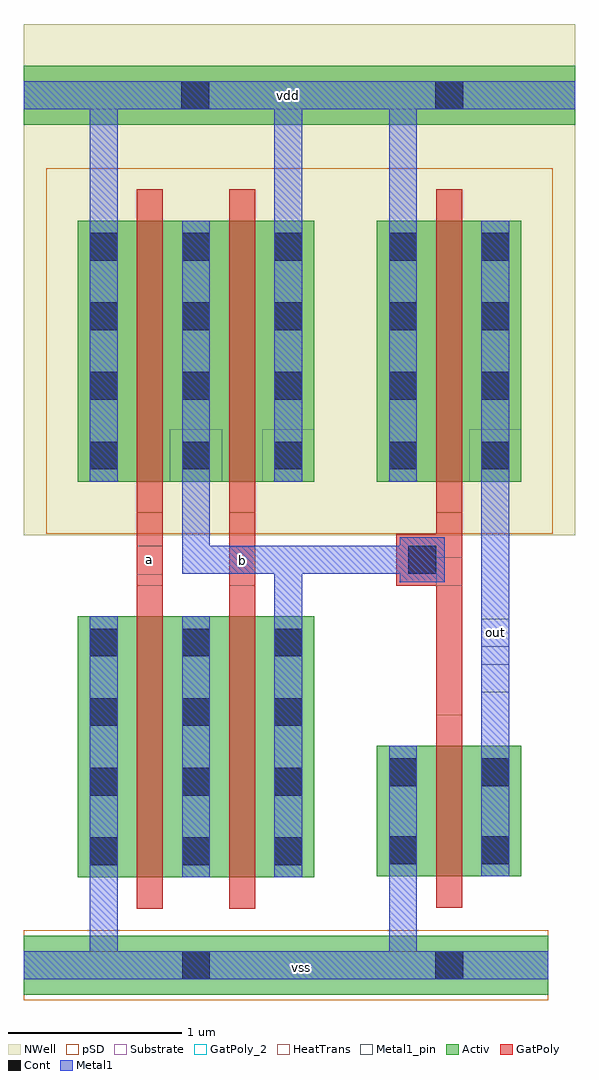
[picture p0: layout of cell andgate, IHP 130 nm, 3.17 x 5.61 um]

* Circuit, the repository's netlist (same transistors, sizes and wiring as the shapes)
* Extracted by KLayout with SG13G2 LVS runset on : 21/03/2026 18:38

.SUBCKT andgate
M$1 \$1 \$3 \$4 \$1 sg13_lv_nmos L=0.15u W=0.75u AS=0.255p AD=0.255p PS=2.18u
+ PD=2.18u
M$2 \$1 \$6 \$2 \$1 sg13_lv_nmos L=0.15u W=1.5u AS=0.51p AD=0.285p PS=3.68u
+ PD=1.88u
M$3 \$2 \$7 \$3 \$1 sg13_lv_nmos L=0.15u W=1.5u AS=0.285p AD=0.51p PS=1.88u
+ PD=3.68u
M$4 \$5 \$6 \$3 \$5 sg13_lv_pmos L=0.15u W=1.5u AS=0.51p AD=0.285p PS=3.68u
+ PD=1.88u
M$5 \$3 \$7 \$5 \$5 sg13_lv_pmos L=0.15u W=1.5u AS=0.285p AD=0.51p PS=1.88u
+ PD=3.68u
M$6 \$5 \$3 \$4 \$5 sg13_lv_pmos L=0.15u W=1.5u AS=0.51p AD=0.51p PS=3.68u
+ PD=3.68u
.ENDS andgate

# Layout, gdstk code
import gdstk
lib = gdstk.Library(unit=1e-6, precision=5e-09)
def R(c, l, rs):  # rectangles x0, y0, x1, y1
    for r in rs: c.add(gdstk.rectangle(r[:2], r[2:], *l))
def A(c, l, x, y, w, h, nx, ny, dx, dy):  # array of equal rectangles
    R(c, l, [(x+i*dx, y+j*dy, x+i*dx+w, y+j*dy+h) for i in range(nx) for j in range(ny)])
Activ = (1, 0)
GatPoly = (5, 0)
GatPoly_2 = (5, 2)
Cont = (6, 0)
Metal1 = (8, 0)
Metal1_pin = (8, 2)
pSD = (14, 0)
NWell = (31, 0)
Substrate = (40, 0)
HeatTrans = (51, 0)

nmos_1_1 = lib.new_cell('nmos$1$1')
R(nmos_1_1, Activ, [(0,0,0.3,0.3), (0,0,0.83,1.5), (0.53,0,0.83,0.3)])
R(nmos_1_1, GatPoly, [(0.34,-0.18,0.49,1.68)])
R(nmos_1_1, GatPoly_2, [(0.34,-0.18,0.49,1.68)])
A(nmos_1_1, Cont, 0.07, 0.07, 0.16, 0.16, 1, 4, 0, 0.4)
A(nmos_1_1, Cont, 0.6, 0.07, 0.16, 0.16, 1, 4, 0, 0.4)
R(nmos_1_1, Metal1, [(0.07,0,0.23,1.5), (0.6,0,0.76,1.5)])
R(nmos_1_1, Metal1_pin, [(0.07,0,0.23,1.5), (0.6,0,0.76,1.5)])
R(nmos_1_1, HeatTrans, [(0.34,-0.18,0.49,1.68)])
nmos_1_1.add(gdstk.Label('nmos', (0.415,0.75), layer=63, texttype=0))
nmos_1_1.add(gdstk.Label('nmos', (0.415,0.75), layer=51, texttype=0))

pmos_2 = lib.new_cell('pmos$2')
R(pmos_2, Activ, [(0,0,0.3,0.3), (0,0,0.83,1.5), (0.53,0,0.83,0.3)])
R(pmos_2, GatPoly, [(0.34,-0.18,0.49,1.68), (0.34,-0.18,0.49,1.68)])
A(pmos_2, Cont, 0.07, 0.07, 0.16, 0.16, 1, 4, 0, 0.4)
A(pmos_2, Cont, 0.6, 0.07, 0.16, 0.16, 1, 4, 0, 0.4)
R(pmos_2, Metal1, [(0.07,0,0.23,1.5), (0.07,0,0.23,1.5), (0.6,0,0.76,1.5), (0.6,0,0.76,1.5)])
R(pmos_2, pSD, [(-0.18,-0.3,1.01,1.8)])
R(pmos_2, NWell, [(-0.31,-0.31,1.14,1.81)])
R(pmos_2, Substrate, [(0.53,0,0.83,0.3)])
R(pmos_2, HeatTrans, [(0.34,-0.18,0.49,1.68)])
pmos_2.add(gdstk.Label('pmos', (0.415,0.75), layer=63, texttype=0))
pmos_2.add(gdstk.Label('pmos', (0.415,0.75), layer=51, texttype=0))

nand = lib.new_cell('nand')
R(nand, Activ, [(-2.935,-1.84,-0.955,-1.5), (-2.935,3.16,-0.955,3.5)])
R(nand, GatPoly, [(-2.285,-0.62,-2.135,1.58), (-1.755,-0.62,-1.605,1.585)])
R(nand, GatPoly_2, [(-1.755,0.46,-1.605,0.625), (-2.285,0.575,-2.135,0.74)])
R(nand, Cont, [(-2.025,-1.75,-1.865,-1.59), (-2.025,-1.75,-1.865,-1.59), (-2.03,3.25,-1.87,3.41)])
R(nand, Metal1, [(-2.935,-1.75,-0.955,-1.59), (-2.555,-1.75,-2.395,-0.535), (-1.495,-0.13,-1.335,0.74), (-2.555,1.98,-2.395,3.41), (-1.495,1.98,-1.335,3.41), (-2.935,3.25,-0.955,3.41)])
R(nand, Metal1_pin, [(-2.935,-1.75,-0.955,-1.59), (-1.495,-0.295,-1.335,-0.135), (-2.935,3.25,-0.955,3.41), (-2.03,3.25,-1.87,3.41)])
R(nand, pSD, [(-2.935,-1.87,-0.955,-1.47)])
R(nand, NWell, [(-2.935,2.92,-0.955,3.74)])
nand.add(gdstk.FlexPath([(-1.945,1.74),(-1.945,0.66),(-1.335,0.66)], 0.16, ends="flush", simple_path=True, layer=8, datatype=0))  # Metal1
nand.add(gdstk.Reference(nmos_1_1, (-2.625,-1.165)))
nand.add(gdstk.Reference(nmos_1_1, (-2.095,-1.165)))
nand.add(gdstk.Reference(pmos_2, (-2.625,1.11)))
nand.add(gdstk.Reference(pmos_2, (-2.095,1.11)))
nand.add(gdstk.Label('vss', (-1.955,-1.685), layer=8, texttype=2))
nand.add(gdstk.Label('vdd', (-1.965,3.325), layer=8, texttype=2))
nand.add(gdstk.Label('out', (-1.415,-0.22), layer=8, texttype=2))
nand.add(gdstk.Label('b', (-1.705,0.545), layer=5, texttype=2))
nand.add(gdstk.Label('a', (-2.235,0.66), layer=5, texttype=2))

m1_cont1_pmos = lib.new_cell('M1_Cont1_PMOS')
R(m1_cont1_pmos, Activ, [(-0.72,-0.175,0.73,0.165)])
R(m1_cont1_pmos, Cont, [(-0.075,-0.085,0.085,0.075)])
R(m1_cont1_pmos, Metal1, [(-0.72,-0.085,0.73,0.075)])
R(m1_cont1_pmos, Metal1_pin, [(-0.72,-0.085,0.73,0.075)])
R(m1_cont1_pmos, NWell, [(-0.72,-0.415,0.73,0.405)])

m1_bulkcont1_pmos = lib.new_cell('M1_BulkCont1_PMOS')
r = gdstk.Reference(m1_cont1_pmos, (-0.015,-0.015)); r.repetition = gdstk.Repetition(1, 1, v1=(0,0), v2=(0,0)); m1_bulkcont1_pmos.add(r)

m1_cont1_nmos = lib.new_cell('M1_Cont1_NMOS')
R(m1_cont1_nmos, Activ, [(-0.56,-0.175,0.58,0.165)])
R(m1_cont1_nmos, Cont, [(-0.07,-0.085,0.09,0.075)])
R(m1_cont1_nmos, Metal1, [(-0.56,-0.085,0.58,0.075)])
R(m1_cont1_nmos, Metal1_pin, [(-0.56,-0.085,0.58,0.075)])
R(m1_cont1_nmos, pSD, [(-0.56,-0.205,0.58,0.195)])

m1_bulkcont1_nmos = lib.new_cell('M1_BulkCont1_NMOS')
r = gdstk.Reference(m1_cont1_nmos, (0.005,0.01)); r.repetition = gdstk.Repetition(1, 1, v1=(0,0), v2=(0,0)); m1_bulkcont1_nmos.add(r)

nmos_1 = lib.new_cell('nmos$1')
R(nmos_1, Activ, [(0,0,0.3,0.3), (0,0,0.83,0.75), (0.53,0,0.83,0.3)])
R(nmos_1, GatPoly, [(0.34,-0.18,0.49,0.93)])
R(nmos_1, GatPoly_2, [(0.34,-0.18,0.49,0.93)])
R(nmos_1, Cont, [(0.07,0.07,0.23,0.23), (0.6,0.07,0.76,0.23), (0.07,0.52,0.23,0.68), (0.6,0.52,0.76,0.68)])
R(nmos_1, Metal1, [(0.07,0,0.23,0.75), (0.6,0,0.76,0.75)])
R(nmos_1, Metal1_pin, [(0.07,0,0.23,0.75), (0.6,0,0.76,0.75)])
R(nmos_1, HeatTrans, [(0.34,-0.18,0.49,0.93)])
nmos_1.add(gdstk.Label('nmos', (0.415,0.375), layer=63, texttype=0))
nmos_1.add(gdstk.Label('nmos', (0.415,0.375), layer=51, texttype=0))

pmos_1_1 = lib.new_cell('pmos$1$1')
R(pmos_1_1, Activ, [(0,0,0.3,0.3), (0,0,0.83,1.5), (0.53,0,0.83,0.3)])
R(pmos_1_1, GatPoly, [(0.34,-0.18,0.49,1.68), (0.34,-0.18,0.49,1.68)])
A(pmos_1_1, Cont, 0.07, 0.07, 0.16, 0.16, 1, 4, 0, 0.4)
A(pmos_1_1, Cont, 0.6, 0.07, 0.16, 0.16, 1, 4, 0, 0.4)
R(pmos_1_1, Metal1, [(0.07,0,0.23,1.5), (0.07,0,0.23,1.5), (0.6,0,0.76,1.5), (0.6,0,0.76,1.5)])
R(pmos_1_1, pSD, [(-0.18,-0.3,1.01,1.8)])
R(pmos_1_1, NWell, [(-0.31,-0.31,1.14,1.81)])
R(pmos_1_1, Substrate, [(0.53,0,0.83,0.3)])
R(pmos_1_1, HeatTrans, [(0.34,-0.18,0.49,1.68)])
pmos_1_1.add(gdstk.Label('pmos', (0.415,0.75), layer=63, texttype=0))
pmos_1_1.add(gdstk.Label('pmos', (0.415,0.75), layer=51, texttype=0))

inverter = lib.new_cell('inverter')
R(inverter, GatPoly, [(-0.075,-1.72,0.075,0.805)])
R(inverter, GatPoly_2, [(-0.075,-0.425,0.075,-0.26)])
R(inverter, Cont, [(-0.08,-2.685,0.08,-2.525), (-0.08,2.315,0.08,2.475)])
R(inverter, Metal1, [(-0.345,-2.685,-0.185,-1.72), (0.185,-1.72,0.345,0.805), (-0.345,1.37,-0.185,2.475)])
R(inverter, Metal1_pin, [(-0.08,-2.685,0.08,-2.525), (0.185,-1.035,0.345,-0.875), (-0.08,2.315,0.08,2.475)])
inverter.add(gdstk.Reference(m1_bulkcont1_pmos, (0.01,2.415)))
inverter.add(gdstk.Reference(m1_bulkcont1_nmos, (-0.015,-2.61)))
inverter.add(gdstk.Reference(nmos_1, (-0.415,-2.095)))
inverter.add(gdstk.Reference(pmos_1_1, (-0.415,0.175)))
inverter.add(gdstk.Label('vdd', (-0.015,2.39), layer=8, texttype=2))
inverter.add(gdstk.Label('vss', (-0.01,-2.62), layer=8, texttype=2))
inverter.add(gdstk.Label('out', (0.27,-0.95), layer=8, texttype=2))
inverter.add(gdstk.Label('in', (-0.025,-0.34), layer=5, texttype=2))

andgate = lib.new_cell('andgate')
R(andgate, GatPoly, [(0.49,-0.425,0.87,-0.125)])
R(andgate, GatPoly_2, [(-0.47,-0.36,-0.32,-0.2), (-1,-0.355,-0.85,-0.195)])
R(andgate, Cont, [(0.56,-0.355,0.72,-0.195)])
R(andgate, Metal1, [(-0.13,-2.685,0.03,-2.525), (0.51,-0.405,0.77,-0.145), (-0.05,-0.355,0.72,-0.195), (-0.21,2.315,-0.05,2.475)])
R(andgate, Metal1_pin, [(0.98,-0.775,1.14,-0.615)])
andgate.add(gdstk.Reference(nand, (1.285,-0.935)))
andgate.add(gdstk.Reference(inverter, (0.795,0)))
andgate.add(gdstk.Label('vdd', (-0.13,2.395), layer=8, texttype=0))
andgate.add(gdstk.Label('vss', (-0.055,-2.62), layer=8, texttype=0))
andgate.add(gdstk.Label('out', (1.06,-0.695), layer=8, texttype=2))
andgate.add(gdstk.Label('a', (-0.925,-0.275), layer=5, texttype=2))
andgate.add(gdstk.Label('b', (-0.395,-0.28), layer=5, texttype=2))

lib.write_gds('andgate.gds')
